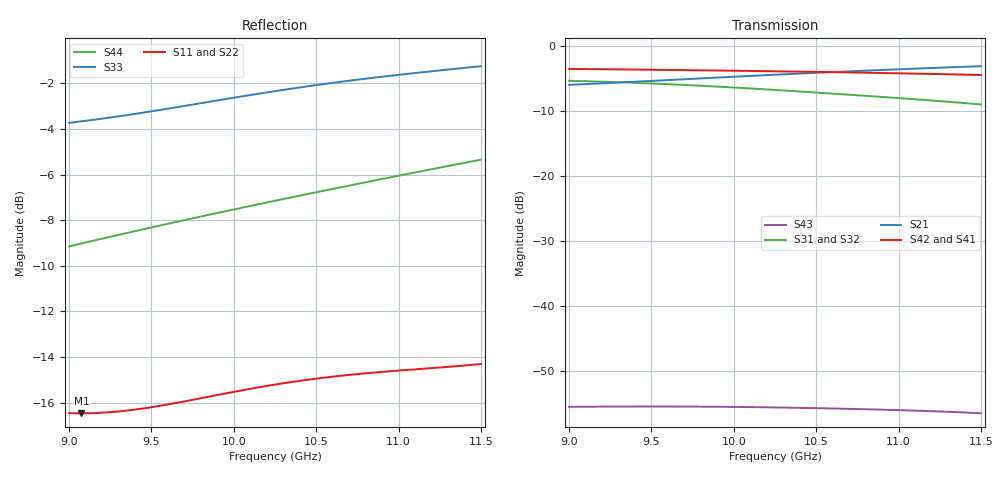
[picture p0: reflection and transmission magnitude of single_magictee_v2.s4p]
! Touchstone file exported from HFSS 2025.2.4
!  File:  C:/Users/chaoy/Documents/single_magictee_v2_stageA/g2_5p40mm_lt_7p50mm/single_magictee_v2.aedt
!  Generated:  03:02:47 PM Sep 19, 2026
!  Design:  SingleMagicT_v2
!  Project:  single_magictee_v2
! Variables:
!  f_adapt = 10.2GHz
!  ridge_g1 = 7.672mm
!  ridge_g2 = 5.4mm
!  ridge_l1 = 9.872mm
!  ridge_l2 = 8.857mm
!  ridge_w = 4.572mm
!  terminal_ridge_len = 7.5mm
!  wg_a = 22.86mm
!  wg_b = 10.16mm
!Data is not renormalized
# GHz S MA
! Terminal data exported
! Port[1] = P1_CollinearMinusX
! Port[2] = P2_CollinearPlusX
! Port[3] = P3_HArm_Ridged
! Port[4] = P4_EArm
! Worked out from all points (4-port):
!   101 points, 9 GHz to 11.5 GHz, reference per port
!   strongest paths, dB at 9 GHz, 9.625 GHz, 10.25 GHz, 10.88 GHz, 11.5 GHz:
!     S42: -3.6, -3.7, -3.9, -4.2, -4.5
!     S41: -3.6, -3.7, -3.9, -4.2, -4.5
!     S21: -6.0, -5.3, -4.5, -3.8, -3.1
!     S31: -5.4, -5.9, -6.8, -7.8, -9.0
!     S32: -5.4, -6.0, -6.8, -7.9, -9.1
!     S43: -55.5, -55.5, -55.6, -55.9, -56.5
!   lowest |S11| = -16.5 dB at 9.075 GHz (marker M1), VSWR 1.35
!   |S11| at or under -10 dB: start of sweep to end of sweep
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9  0.1504 -162.4  0.5 -161.4  0.5374 96.5  0.6623 45.2
   0.5 -161.4  0.1519 -162.9  0.536 96.5  0.663 -135.0
   0.5374 96.5  0.536 96.5  0.6511 174.7  0.001681 -44.0
   0.6623 45.2  0.663 -135.0  0.001681 -44.0  0.3489 -109.1
9.075  0.1502 -169.1  0.505 -169.9  0.5344 87.0  0.6609 36.4
       0.505 -169.9  0.1517 -169.6  0.533 86.9  0.6617 -143.7
       0.5344 87.0  0.533 86.9  0.656 163.6  0.001683 -53.6
       0.6609 36.4  0.6617 -143.7  0.001683 -53.6  0.3541 -117.2
9.65  0.1583 139.7  0.5482 126.8  0.5028 15.0  0.6493 -28.3
      0.5482 126.8  0.1593 139.1  0.5014 14.9  0.6501 151.6
      0.5028 15.0  0.5014 14.9  0.7041 80.2  0.001688 -126.1
      0.6493 -28.3  0.6501 151.6  0.001688 -126.1  0.3947 -178.5
10.275  0.1742 80.8  0.6004 60.0  0.4549 -60.7  0.6342 -95.6
        0.6004 60.0  0.1749 80.2  0.4536 -60.8  0.635 84.3
        0.4549 -60.7  0.4536 -60.8  0.7663 -6.2  0.00166 157.2
        0.6342 -95.6  0.635 84.3  0.00166 157.2  0.4412 116.6
10.925  0.1855 18.1  0.6526 -8.0  0.4017 -137.4  0.6151 -163.5
        0.6526 -8.0  0.1857 17.6  0.4005 -137.5  0.6158 16.3
        0.4017 -137.4  0.4005 -137.5  0.8236 -92.5  0.001594 79.5
        0.6151 -163.5  0.6158 16.3  0.001594 79.5  0.4924 50.4
11.2  0.1887 -8.0  0.6735 -36.4  0.3793 -169.9  0.6057 168.1
      0.6735 -36.4  0.1888 -8.4  0.3781 -169.9  0.6065 -12.0
      0.3793 -169.9  0.3781 -169.9  0.8445 -129.4  0.001555 46.9
      0.6057 168.1  0.6065 -12.0  0.001555 46.9  0.515 22.6
11.5  0.1928 -35.8  0.696 -67.2  0.3535 154.1  0.5946 137.3
      0.696 -67.2  0.1926 -36.3  0.3523 154.1  0.5953 -42.9
      0.3535 154.1  0.3523 154.1  0.8666 -171.2  0.001498 11.1
      0.5946 137.3  0.5953 -42.9  0.001498 11.1  0.5404 -7.7
